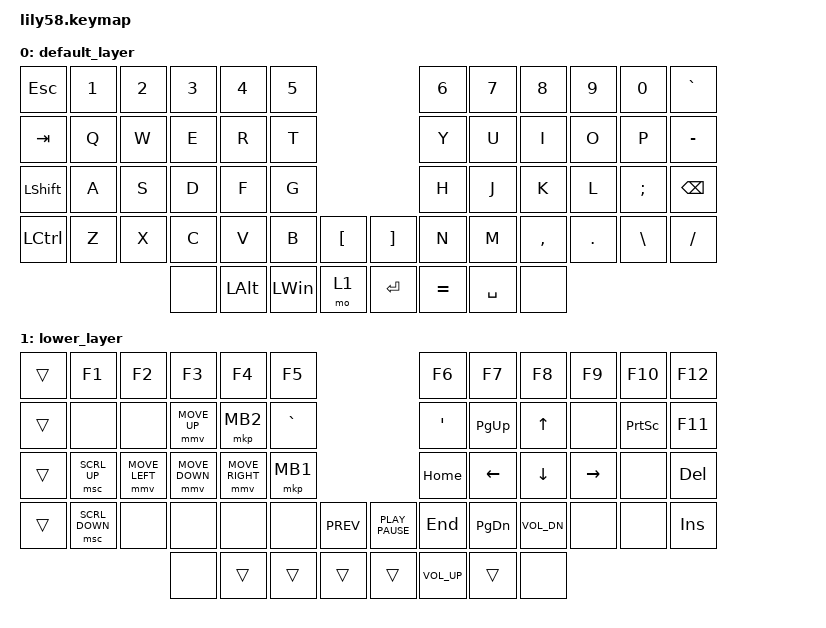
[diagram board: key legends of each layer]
/*
 * Copyright (c) 2020 The ZMK Contributors
 *
 * SPDX-License-Identifier: MIT
 */

#include <dt-bindings/zmk/mouse.h>
#include <behaviors.dtsi>
#include <dt-bindings/zmk/bt.h>
#include <dt-bindings/zmk/keys.h>
#include <dt-bindings/zmk/pointing.h>

#define ZMK_POINTING_DEFAULT_MOVE_VAL 1500  // default: 600
#define ZMK_POINTING_DEFAULT_SCRL_VAL 20    // default: 10

/ {
    combos {
        compatible = "zmk,combos";

        bt_1 {
            bindings = <&bt BT_SEL 0>;
            key-positions = <51 41 17 1>;
        };

        bt_2 {
            bindings = <&bt BT_SEL 1>;
            key-positions = <51 41 17 2>;
        };

        bt_3 {
            bindings = <&bt BT_SEL 1>;
            key-positions = <51 41 17 3>;
        };

        bt_clear {
            bindings = <&bt BT_CLR_ALL>;
            key-positions = <51 41 17 39>;
        };

        caps_lock {
            bindings = <&kp CAPSLOCK>;
            key-positions = <24 53>;
        };

        r_ctrl {
            bindings = <&kp RCTRL>;
            key-positions = <42 43>;
        };

        warpd_shortcut {
            bindings = <&kp LS(LC(LG(M)))>;
            key-positions = <53 54>;
        };

        combo_cedilla: combo_cedilla {
            timeout-ms = <50>;
            key-positions = <&mod1 &semicolon>;
            // Use the Unicode binding to send U+00E7 ("ç")
            bindings = <&unicode 0x00E7>;
        };
    };

    keymap {
        compatible = "zmk,keymap";

        default_layer {
            bindings = <
&kp ESC     &kp N1  &kp N2  &kp N3  &kp N4        &kp N5                              &kp N6     &kp N7     &kp N8     &kp N9   &kp N0         &kp GRAVE
&kp TAB     &kp Q   &kp W   &kp E   &kp R         &kp T                               &kp Y      &kp U      &kp I      &kp O    &kp P          &kp MINUS
&kp LSHIFT  &kp A   &kp S   &kp D   &kp F         &kp G                               &kp H      &kp J      &kp K      &kp L    &kp SEMI       &kp BACKSPACE
&kp LCTRL   &kp Z   &kp X   &kp C   &kp V         &kp B         &kp LBKT    &kp RBKT  &kp N      &kp M      &kp COMMA  &kp DOT  &kp BACKSLASH  &kp FSLH
                            &none   &kp LEFT_ALT  &kp LEFT_WIN  &mo 1       &kp RET   &kp EQUAL  &kp SPACE  &none
            >;
        };

        lower_layer {
            bindings = <
&trans  &kp F1          &kp F2          &kp F3          &kp F4           &kp F5                                     &kp F6            &kp F7     &kp F8          &kp F9     &kp F10          &kp F12
&trans  &none           &none           &mmv MOVE_UP    &mkp MB2         &kp GRAVE                                  &kp SINGLE_QUOTE  &kp PG_UP  &kp UP_ARROW    &none      &kp PRINTSCREEN  &kp F11
&trans  &msc SCRL_UP    &mmv MOVE_LEFT  &mmv MOVE_DOWN  &mmv MOVE_RIGHT  &mkp MB1                                   &kp HOME          &kp LEFT   &kp DOWN_ARROW  &kp RIGHT  &none            &kp DELETE
&trans  &msc SCRL_DOWN  &none           &none           &none            &none      &kp K_PREV    &kp K_PLAY_PAUSE  &kp END           &kp PG_DN  &kp C_VOL_DN    &none      &none            &kp INSERT
                                        &none           &trans           &trans     &trans        &trans            &kp C_VOLUME_UP   &trans     &none
            >;
        };
    };
};
